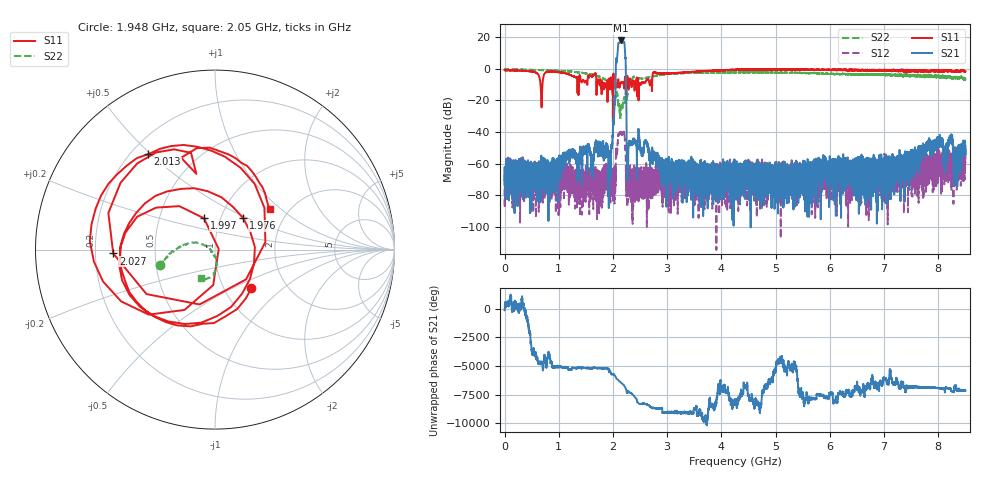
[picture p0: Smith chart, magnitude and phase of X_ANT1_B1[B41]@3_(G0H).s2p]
#  HZ  S  RI  R  50.00
! Rohde & Schwarz Vector Network Analyzer
! Rohde-Schwarz,ZNBT8-20Port,1318700624101681,3.50
! Created: UTC 7/15/2025, 2:10:43 PM
! freq[Hz]  re:S1010  im:S1010  re:S0310  im:S0310  re:S1003  im:S1003  re:S33  im:S33
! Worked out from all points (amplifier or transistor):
!   8500 points, 1 MHz to 8.5 GHz, reference 50 ohm
!   highest |S21| = 17.9 dB at 2.144 GHz (marker M1)
!   |S21| within 3 dB of that: 2.095 GHz to 2.215 GHz (119.7 MHz wide, 5.55 % of centre)
!   unconditionally stable (mu >= 1): start of sweep to end of sweep
!   at 1.417 GHz: K = 267653.93, MAG = -50.2 dB, |S12| = -68.7 dB
!   at 4.251 GHz: K = 183701.97, MAG = -63.0 dB, |S12| = -61.0 dB
!   at 8.5 GHz: K = 46332.53, MAG = -45.3 dB, |S12| = -59.8 dB
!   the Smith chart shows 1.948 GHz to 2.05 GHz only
!   S11 on the Smith chart (normalised r, x): 1.948 GHz: 1.34, -0.63; 1.976 GHz: 1.27, +0.47; 1.997 GHz: 0.83, +0.30; 2.013 GHz: 0.27, +0.49; 2.027 GHz: 0.28, -0.02; 2.05 GHz: 1.61, +0.84
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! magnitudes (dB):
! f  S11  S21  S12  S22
! 1 MHz  -0.8  -67.7  -68.8  -0.2
! 1.418 GHz  -8.5  -55.8  -69.9  -2.4
! 1.948 GHz  -10.6  -53.8  -69.7  -9.9
! 1.976 GHz  -12.6  -49.3  -77.7  -12.8
! 1.997 GHz  -14.6  -41.7  -70.3  -17.7
! 2.013 GHz  -3.8  -34.2  -63.5  -32.5
! 2.027 GHz  -4.9  -17.6  -65.3  -21.5
! 2.05 GHz  -8.4  -6.2  -65.4  -15.0
! 2.093 GHz  -7.1  14.1  -44.4  -19.3
! 2.144 GHz  -8.9  17.9  -39.9  -26.1
! 2.205 GHz  -12.3  16.6  -40.5  -18.9
! 2.292 GHz  -11.1  -46.7  -77.3  -12.5
! 2.612 GHz  -7.4  -46.2  -74.5  -5.6
! 2.834 GHz  -2.8  -56.9  -73.3  -4.2
! 4.251 GHz  -0.6  -75.7  -61.0  -2.2
! 5.667 GHz  -0.4  -64.3  -59.8  -2.7
! 7.084 GHz  -0.9  -58.4  -68.2  -3.7
! 7.967 GHz  -0.9  -49.0  -57.2  -4.6
! 8.131 GHz  -1.1  -56.2  -68.0  -5.3
! 8.226 GHz  -1.2  -43.9  -58.2  -5.2
! 8.322 GHz  -1.8  -64.8  -62.6  -5.9
! 8.5 GHz  -1.8  -51.0  -59.8  -6.5
